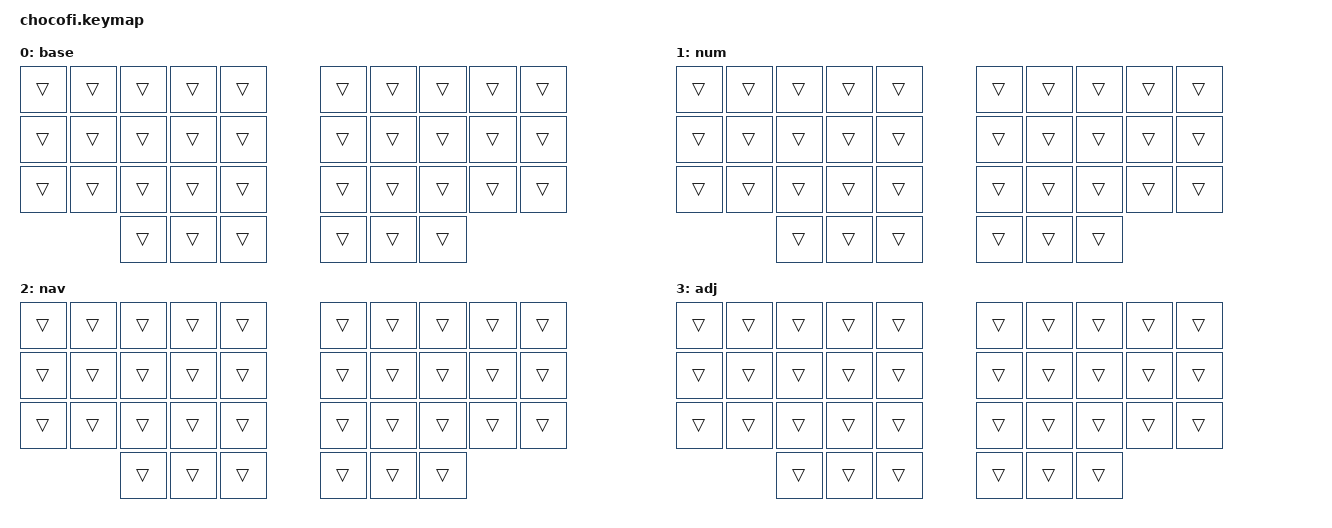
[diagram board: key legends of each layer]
#include <behaviors.dtsi>
#include <dt-bindings/zmk/keys.h>

// Key positions
// - first Letter is the hand: (L)eft or (R)ight
// - second letter is the finger (P)inky; (R)ing; (M)iddle; (I)ndex; (T)humb
// - third letter is either
//      - the column for the thumb finger (O)uter; (H)ome; (I)inner
//      - the row for all the other fingers (U)pper; (H)ome; (L)ower
// - for the index fingers, the (I)inner column with another 'I' at the end
//  ╭──────────────────────────────────────────────╮ ╭──────────────────────────────────────────────╮
//  │ LPU (0)  LRU (1)  LMU (2)  LIU (3)  LIUI (4) │ │ RIUI (5)  RIU (6)  RMU (7)  RRU (8)  RPU (9) │
//  │ LPH(10)  LRH(11)  LMH(12)  LIH(13)  LIHI(14) │ │ RIHI(15)  RIH(16)  RMH(17)  RRH(18)  RPH(19) │
//  │ LPL(20)  LRL(21)  LML(22)  LIL(23)  LILI(24) │ │ RILI(25)  RIL(26)  RML(27)  RRL(28)  RPL(29) │
//  ╰─────────────────╮ LTO(30)  LTH(31)  LTI (32) │ │ RTI (33)  RTH(34)  RTO(35) ╭─────────────────╯
//                    ╰────────────────────────────╯ ╰────────────────────────────╯
// left pinky finger

#define LPU 0
#define LPH 10
#define LPL 20

// left ring finger

#define LRU 1
#define LRH 11
#define LRL 21

// left middle finger

#define LMU 2
#define LMH 12
#define LML 22

// left index finger

#define LIU 3
#define LIH 13
#define LIL 23
#define LIUI 4
#define LIHI 14
#define LILI 24

// left thumb

#define LTO 30
#define LTH 31
#define LTI 32

// right pinky finger

#define RPU 9
#define RPH 19
#define RPL 29

// right ring finger

#define RRU 8
#define RRH 18
#define RRL 28

// right middle finger

#define RMU 7
#define RMH 17
#define RML 27

// right index finger

#define RIU 6
#define RIH 16
#define RIL 26
#define RIUI 5
#define RIHI 15
#define RILI 25

// right thumb

#define RTO 35
#define RTH 34
#define RTI 33
#define L_INDEX_FINGER LIUI LIHI LILI LIU LIH LIL
#define L_MIDDLE_FINGER LMU LMH LML
#define L_RING_FINGER LRU LRH LRL
#define L_PINKY_FINGER LPU LPH LPL
#define L_THUMB LTO LTH LTI
#define R_INDEX_FINGER RIUI RIHI RILI RIU RIH RIL
#define R_MIDDLE_FINGER RMU RMH RML
#define R_RING_FINGER RRU RRH RRL
#define R_PINKY_FINGER RPU RPH RPL
#define R_THUMB RTO RTH RTI

// Layers

#define BASE 0
#define FUNCTION 1
#define LOCK 2

#define COMBO(NAME, LAYERS, KEYPOS, BINDINGS) \
/ { \
    combos { \
        compatible = "zmk,combos"; \
        combo_##NAME { \
            bindings = <BINDINGS>; \
            key-positions = <KEYPOS>; \
            layers = <LAYERS>; \
            timeout-ms = <60>; \
        }; \
    }; \
}
#define MOD_MORPH(NAME, MODS, WITHOUT_MODS, WITH_MODS) \
/ { \
    behaviors { \
        NAME##: NAME { \
            compatible = "zmk,behavior-mod-morph"; \
            #binding-cells = <0>; \
            bindings = <WITHOUT_MODS>, <WITH_MODS>; \
            mods = <(MODS)>; \
        }; \
    }; \
}
#define SHIFTED(NAME, WITHOUT_SHIFT, WITH_SHIFT) \
MOD_MORPH(NAME, MOD_LSFT|MOD_RSFT, WITHOUT_SHIFT, WITH_SHIFT)
#define MACRO(NAME, ...) \
/ { \
    macros { \
        NAME##: NAME { \
            compatible = "zmk,behavior-macro"; \
            #binding-cells = <0>; \
            wait-ms = <0>; \
            tap-ms = <0>; \
            bindings = __VA_ARGS__; \
        }; \
    }; \
}
#define COMPOSE_UNICODE(NAME, FIRST, SECOND, THIRD, FOURTH) \
MACRO(NAME, <&kp RALT &kp U &kp FIRST &kp SECOND &kp THIRD &kp FOURTH &kp RET>)
#define HOLD_TAP(NAME, HOLD_BINDING, TAP_BINDING) \
/ { \
    behaviors { \
        NAME##: NAME { \
            compatible = "zmk,behavior-hold-tap"; \
            #binding-cells = <2>; \
            flavor = "tap-preferred"; \
            tapping-term-ms = <150>; \
            bindings = <HOLD_BINDING>, <TAP_BINDING>; \
        }; \
    }; \
}
#define BIND_HOLD_TAP_ARGUMENTS(NAME, HOLD_TAP_BEHAVIOR, ARGUMENT_1, ARGUMENT_2) \
MACRO(NAME, <&macro_press & ## HOLD_TAP_BEHAVIOR ARGUMENT_1 ARGUMENT_2>, <&macro_pause_for_release>, <&macro_release & ## HOLD_TAP_BEHAVIOR ARGUMENT_1 ARGUMENT_2>)
#define BIGRAM(NAME, FIRST_LETTER, SECOND_LETTER) \
MACRO(NAME ## _lowercase, <&kp FIRST_LETTER &kp SECOND_LETTER>); \
MACRO(NAME ## _uppercase, <&kp LS(FIRST_LETTER) &kp SECOND_LETTER>); \
MACRO(NAME ## _all_caps, <&kp LS(FIRST_LETTER) &kp LS(SECOND_LETTER)>); \
SHIFTED(NAME ## _shifted, & ## NAME ## _lowercase, & ## NAME ## _uppercase); \
MOD_MORPH(NAME, MOD_LCTL|MOD_RCTL, & ## NAME ## _shifted, & ## NAME ## _all_caps)
#define AUTOPAIR(NAME, OPENING_SYMBOL, CLOSING_SYMBOL, SHIFTED_TAP_SYMBOL) \
MACRO(NAME ## _ap, <&kp OPENING_SYMBOL &kp CLOSING_SYMBOL>); \
MACRO(NAME ## _ap_shift, <&kp OPENING_SYMBOL &kp CLOSING_SYMBOL &kp LEFT>); \
MACRO(NAME ## _ap_control, <&kp OPENING_SYMBOL &kp RET &kp CLOSING_SYMBOL &kp UP &kp END &kp RET>); \
\
MOD_MORPH(NAME ## _hold_shift, MOD_LSFT, & ## NAME ## _ap, & ## NAME ## _ap_shift); \
MOD_MORPH(NAME ## _hold, MOD_LCTL, & ## NAME ## _hold_shift, & ## NAME ## _ap_control); \
\
SHIFTED(NAME ## _tap, &kp CLOSING_SYMBOL, &kp SHIFTED_TAP_SYMBOL); \
\
HOLD_TAP(NAME ## _hold_tap, & ## NAME ## _hold, & ## NAME ## _tap); \
BIND_HOLD_TAP_ARGUMENTS(NAME, NAME ## _hold_tap, 0, 0)
#define AUTO_SENTENCE_CASE(NAME, SENTENCE_ENDING_SYMBOL, SHIFTED_TAP_SYMBOL) \
MACRO(NAME ## _sc, <&kp SENTENCE_ENDING_SYMBOL &kp SPACE &sk LSHIFT>); \
SHIFTED(NAME ## _shifted_tap_symbols, &kp SENTENCE_ENDING_SYMBOL, &kp SHIFTED_TAP_SYMBOL); \
HOLD_TAP(NAME ## _sc_ht, & ## NAME ## _sc, & ## NAME ## _shifted_tap_symbols); \
BIND_HOLD_TAP_ARGUMENTS(NAME, NAME ## _sc_ht, 0, 0)
#define LAYER_KEYMAP(LAYER, \
    LEFT_UPPER_ROW, \
    LEFT_HOME_ROW, \
    LEFT_LOWER_ROW, \
    LEFT_THUMB_ROW, \
    RIGHT_UPPER_ROW, \
    RIGHT_HOME_ROW, \
    RIGHT_LOWER_ROW, \
    RIGHT_THUMB_ROW \
) \
/ { \
    keymap { \
        compatible = "zmk,keymap"; \
        LAYER ## _layer { \
            display-name = #LAYER; \
            bindings = <\
                LEFT_UPPER_ROW \
                RIGHT_UPPER_ROW \
                LEFT_HOME_ROW \
                RIGHT_HOME_ROW \
                LEFT_LOWER_ROW \
                RIGHT_LOWER_ROW \
                LEFT_THUMB_ROW \
                RIGHT_THUMB_ROW \
            >; \
        }; \
    }; \
}

// ----------------------------------------------------------------------------------------------------------------------------------------
// BEHAVIORS

&sk {
    quick-release;
    release-after-ms = <10000>;
};

&caps_word {
    continue-list = <UNDERSCORE MINUS BACKSPACE DELETE>;

    /delete-property/ ignore-modifiers;
};

/ {
    behaviors {
        lmt: lmt {
            compatible = "zmk,behavior-hold-tap";
            #binding-cells = <2>;
            flavor = "balanced";
            tapping-term-ms = <280>;
            quick-tap-ms = <175>;
            require-prior-idle-ms = <100>;
            bindings = <&kp>, <&kp>;

            hold-trigger-key-positions = <R_INDEX_FINGER R_MIDDLE_FINGER R_RING_FINGER R_PINKY_FINGER R_THUMB>;
            hold-trigger-on-release;
        };

        rmt: rmt {
            compatible = "zmk,behavior-hold-tap";
            #binding-cells = <2>;
            flavor = "balanced";
            tapping-term-ms = <280>;
            quick-tap-ms = <175>;
            require-prior-idle-ms = <100>;
            bindings = <&kp>, <&kp>;

            hold-trigger-key-positions = <L_INDEX_FINGER L_MIDDLE_FINGER L_RING_FINGER L_PINKY_FINGER L_THUMB>;
            hold-trigger-on-release;
        };
    };

    keymap {
        compatible = "zmk,keymap";

        base {
            bindings = <
  &trans  &trans  &trans  &trans  &trans    &trans  &trans  &trans  &trans  &trans
  &trans  &trans  &trans  &trans  &trans    &trans  &trans  &trans  &trans  &trans
  &trans  &trans  &trans  &trans  &trans    &trans  &trans  &trans  &trans  &trans
                  &trans  &trans  &trans    &trans  &trans  &trans
            >;
        };

        num {
            bindings = <
  &trans  &trans  &trans  &trans  &trans    &trans  &trans  &trans  &trans  &trans
  &trans  &trans  &trans  &trans  &trans    &trans  &trans  &trans  &trans  &trans
  &trans  &trans  &trans  &trans  &trans    &trans  &trans  &trans  &trans  &trans
                  &trans  &trans  &trans    &trans  &trans  &trans
            >;
        };

        nav {
            bindings = <
  &trans  &trans  &trans  &trans  &trans    &trans  &trans  &trans  &trans  &trans
  &trans  &trans  &trans  &trans  &trans    &trans  &trans  &trans  &trans  &trans
  &trans  &trans  &trans  &trans  &trans    &trans  &trans  &trans  &trans  &trans
                  &trans  &trans  &trans    &trans  &trans  &trans
            >;
        };

        adj {
            bindings = <
  &trans  &trans  &trans  &trans  &trans    &trans  &trans  &trans  &trans  &trans
  &trans  &trans  &trans  &trans  &trans    &trans  &trans  &trans  &trans  &trans
  &trans  &trans  &trans  &trans  &trans    &trans  &trans  &trans  &trans  &trans
                  &trans  &trans  &trans    &trans  &trans  &trans
            >;
        };
    };
};

SHIFTED(divide_multiply, &kp SLASH, &kp ASTERISK);
SHIFTED(minus_plus, &kp MINUS, &kp PLUS);
SHIFTED(and_or, &kp AMPERSAND, &kp PIPE);
SHIFTED(equal_tilde, &kp EQUAL, &kp TILDE);
SHIFTED(underscore_backslash, &kp UNDERSCORE, &kp BACKSLASH);
SHIFTED(semicolon_colon, &kp SEMICOLON, &kp COLON);
SHIFTED(backspace_delete, &kp BACKSPACE, &kp DELETE);

AUTO_SENTENCE_CASE(period_comma, PERIOD, COMMA);
AUTO_SENTENCE_CASE(question_percent, QUESTION, PERCENT);
AUTO_SENTENCE_CASE(exclamation_at, EXCLAMATION, AT_SIGN);

AUTOPAIR(angled_brackets, LESS_THAN, GREATER_THAN, LESS_THAN);
AUTOPAIR(round_brackets, LPAR, RPAR, LPAR);
AUTOPAIR(curly_brackets, LEFT_BRACE, RIGHT_BRACE, LEFT_BRACE);
AUTOPAIR(square_brackets, LEFT_BRACKET, RIGHT_BRACKET, LEFT_BRACKET);
AUTOPAIR(backtick_caret, GRAVE, GRAVE, CARET);
AUTOPAIR(double_quotes_hash, DOUBLE_QUOTES, DOUBLE_QUOTES, HASH);
AUTOPAIR(single_quote_dollar, SINGLE_QUOTE, SINGLE_QUOTE, DOLLAR);

BIGRAM(qu, Q, U);
BIGRAM(gh, G, H);
BIGRAM(sh, S, H);
BIGRAM(wh, W, H);
BIGRAM(ph, P, H);
BIGRAM(ch, C, H);
BIGRAM(th, T, H);

MACRO(newline_above, <&kp HOME &kp RET &kp UP>);
MACRO(newline_below, <&kp END &kp RET>);
SHIFTED(newline, &newline_below, &newline_above);

MACRO(join_with_line_above, <&kp HOME &kp BACKSPACE &kp HOME>);
MACRO(join_with_line_below, <&kp END &kp DELETE &kp END>);
SHIFTED(join_with_line, &join_with_line_below, &join_with_line_above);

MACRO(delete_word, <&kp LC(LEFT) &kp LC(LS(RIGHT)) &kp BACKSPACE>);
MACRO(delete_line, <&kp HOME &kp LS(END) &kp BACKSPACE>);
SHIFTED(delete_word_or_line, &delete_line, &delete_word);

// unicode symbols

COMPOSE_UNICODE(sharp_s_lowercase, N0, N0, D, F);
COMPOSE_UNICODE(sharp_s_uppercase, N1, E, N9, E);
SHIFTED(sharp_s, &sharp_s_lowercase, &sharp_s_uppercase);

COMPOSE_UNICODE(diacritic_umlaut, N0, N3, N0, N8);
COMPOSE_UNICODE(diacritic_breve, N0, N3, N0, N6);
COMPOSE_UNICODE(diacritic_circumflex, N0, N3, N0, N2);
COMPOSE_UNICODE(diacritic_comma, N0, N3, N2, N6);

// ----------------------------------------------------------------------------------------------------------------------------------------
// COMBO BINDINGS
// letter and bigram combos

COMBO(z, BASE, LPU LRU, &kp Z);
COMBO(qu, BASE, LPH LRH, &qu);
COMBO(q, BASE, LPL LRL, &kp Q);
COMBO(sharp_s, BASE, LPL LRH, &sharp_s);

COMBO(gh, BASE, LRU LMU, &gh);
COMBO(sh, BASE, LRH LMH, &sh);
COMBO(wh, BASE, LRL LML, &wh);

COMBO(ph, BASE, LMU LIU, &ph);
COMBO(th, BASE, LMH LIH, &th);
COMBO(ch, BASE, LML LIL, &ch);

// symbol combos

COMBO(angled_brackets, BASE, RIU RMU, &angled_brackets);
COMBO(underscore_backslash, BASE, RIH RMH, &underscore_backslash);
COMBO(square_brackets, BASE, RIL RML, &square_brackets);

COMBO(round_brackets, BASE, RMU RRU, &round_brackets);
COMBO(equal_tilde, BASE, RMH RRH, &equal_tilde);
COMBO(curly_brackets, BASE, RML RRL, &curly_brackets);

COMBO(backtick_caret, BASE, RRU RPU, &backtick_caret);
COMBO(double_quotes_hash, BASE, RRH RPH, &double_quotes_hash);
COMBO(single_quote_dollar, BASE, RRL RPL, &single_quote_dollar);

// number combos

COMBO(vertical_8, BASE, RIUI RIHI, &kp N8);
COMBO(vertical_0, BASE, RIU  RIH,  &kp N0);
COMBO(vertical_2, BASE, RMU  RMH,  &kp N2);
COMBO(vertical_4, BASE, RRU  RRH,  &kp N4);
COMBO(vertical_6, BASE, RPU  RPH,  &kp N6);

COMBO(vertical_9, BASE, LIUI LIHI, &kp N9);
COMBO(vertical_1, BASE, LIU  LIH,  &kp N1);
COMBO(vertical_3, BASE, LMU  LMH,  &kp N3);
COMBO(vertical_5, BASE, LRU  LRH,  &kp N5);
COMBO(vertical_7, BASE, LPU  LPH,  &kp N7);

// navigation combos

COMBO(left, BASE, RIH RIL, &kp LEFT);
COMBO(down, BASE, RMH RML, &kp DOWN);
COMBO(up, BASE, RRH RRL, &kp UP);
COMBO(right, BASE, RPH RPL, &kp RIGHT);

COMBO(home, BASE, LPH LPL, &kp HOME);
COMBO(page_down, BASE, LRH LRL, &kp PAGE_DOWN);
COMBO(page_up, BASE, LMH LML, &kp PAGE_UP);
COMBO(end, BASE, LIH LIL, &kp END);

// layer and word combos

COMBO(oneshot_fn_layer, BASE, LPU LRU LMU LIU, &sl FUNCTION);
COMBO(caps_word, BASE, LIH RIH, &caps_word);

// combo for deleting the current word or line

COMBO(delete_word_or_line, BASE, LTI LTH, &delete_word_or_line);

// combo for inserting newlines above or below the current line

COMBO(newline, BASE, RTI RTH, &newline);

// combo for joining the current line with the one above or below

COMBO(join_with_line, BASE, RTH RTO, &join_with_line);


COMBO(lock, BASE, LPU LRU LMU LIU RIU RMU RRU RPU, &to LOCK);

// combining diacritial mark combos

COMBO(diacritic_umlaut, BASE, LMH LIL, &diacritic_umlaut);
COMBO(diacritic_breve, BASE, LRH LML, &diacritic_breve);
COMBO(diacritic_circumflex, BASE, LRL LMH, &diacritic_circumflex);
COMBO(diacritic_comma, BASE, RIL RMH, &diacritic_comma);

// ----------------------------------------------------------------------------------------------------------------------------------------
// KEY BINDINGS

LAYER_KEYMAP(BASE,
    &kp J &kp G &kp M &kp P &kp V,
    &lmt LMETA R &lmt LALT S &lmt LCTRL N &lmt LSHIFT D &kp B,
    &kp X &kp F &kp L &kp C &kp W,
    &kp ESC &kp T &backspace_delete,

    &divide_multiply &semicolon_colon &period_comma &question_percent &exclamation_at,
    &minus_plus &rmt RSHIFT A &rmt RCTRL E &rmt RALT I &rmt RMETA H,
    &and_or &kp U &kp O &kp Y &kp K,
    &kp RET &kp SPACE &kp TAB
);

LAYER_KEYMAP(FN,
    &bt BT_CLR &ext_power EP_OFF &ext_power EP_ON &out OUT_USB &out OUT_BLE,
    &bt BT_SEL 4 &bt BT_SEL 3 &bt BT_SEL 2 &bt BT_SEL 1 &bt BT_SEL 0,
    &none &none &none &none &none,
    &none &none &none,

    &none &none &none &none &none,
    &none &none &none &none &none,
    &none &none &none &none &none,
    &none &none &none
);

LAYER_KEYMAP(LOCK,
    &none &none &none &none &none,
    &none &none &none &none &none,
    &none &none &none &none &none,
    &none &none &none,

    &none &none &none &none &none,
    &none &none &none &none &none,
    &none &none &none &none &none,
    &none &none &none
);
